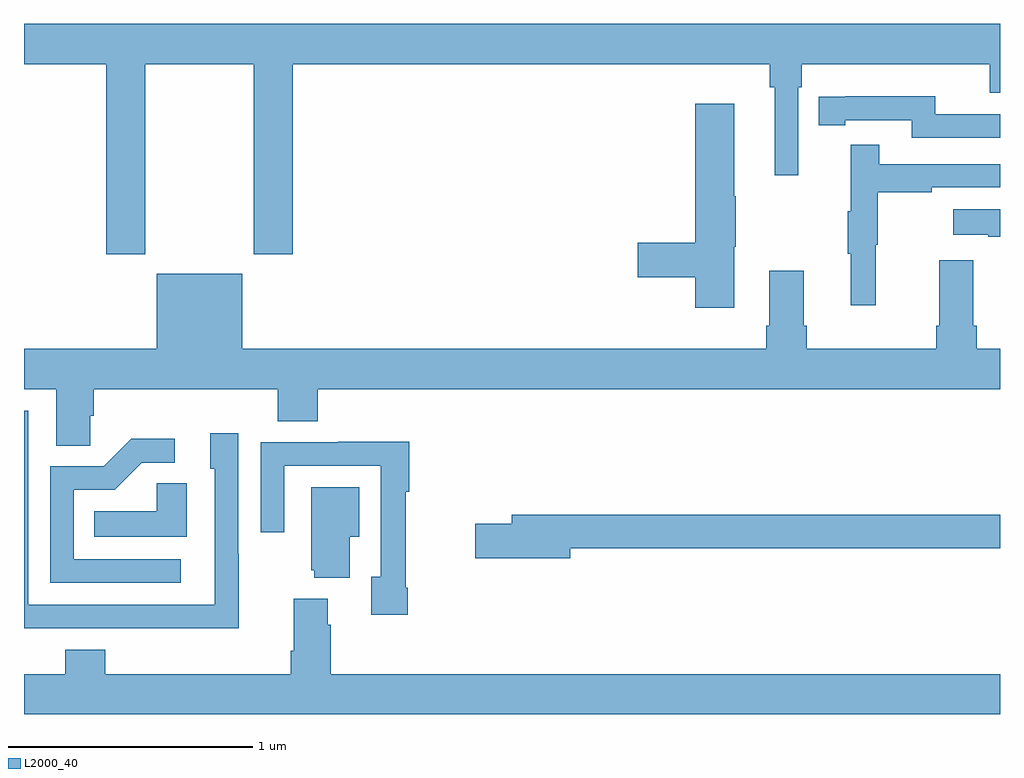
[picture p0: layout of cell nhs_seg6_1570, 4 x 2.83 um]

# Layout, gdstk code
import gdstk
lib = gdstk.Library(unit=1e-6, precision=1e-09)
def P(c, l, *ps):  # polygons
    for p in ps: c.add(gdstk.Polygon(p, *l))
L2000_40 = (2000, 40)

nhs_seg6_1570 = lib.new_cell('nhs_seg6_1570')
P(nhs_seg6_1570, L2000_40, [(205.497,991.292),(205.942,991.292),(205.942,990.513),(206.102,990.513),(206.102,991.292),(208.057,991.292),(208.057,991.196),(208.076,991.196),(208.076,990.837),(208.173,990.837),(208.173,991.196),(208.187,991.196),(208.187,991.292),(208.958,991.292),(208.958,991.175),(209,991.175),(209,991.456),(205,991.456),(205,991.292),(205.337,991.292),(205.337,990.513),(205.497,990.513)],
  [(209,991.086),(208.734,991.086),(208.734,991.159),(208.366,991.159),(208.366,991.158),(208.258,991.158),(208.258,991.042),(208.366,991.042),(208.366,991.062),(208.638,991.062),(208.638,990.99),(209,990.99)],
  [(207.91,990.543),(207.918,990.543),(207.918,990.749),(207.91,990.749),(207.91,991.129),(207.752,991.129),(207.752,990.56),(207.516,990.56),(207.516,990.418),(207.752,990.418),(207.752,990.294),(207.91,990.294)],
  [(208.49,990.552),(208.498,990.552),(208.498,990.766),(208.721,990.766),(208.721,990.786),(209,990.786),(209,990.882),(208.505,990.882),(208.505,990.961),(208.388,990.961),(208.388,990.689),(208.377,990.689),(208.377,990.515),(208.388,990.515),(208.388,990.303),(208.49,990.303)],
  [(209,990.697),(208.809,990.697),(208.809,990.593),(208.952,990.593),(208.952,990.583),(209,990.583)],
  [(209,990.124),(208.904,990.124),(208.904,990.22),(208.891,990.22),(208.891,990.487),(208.751,990.487),(208.751,990.22),(208.739,990.22),(208.739,990.124),(208.208,990.124),(208.208,990.22),(208.195,990.22),(208.195,990.445),(208.055,990.445),(208.055,990.22),(208.043,990.22),(208.043,990.124),(205.894,990.124),(205.894,990.433),(205.544,990.433),(205.544,990.124),(205,990.124),(205,989.96),(205.133,989.96),(205.133,989.728),(205.272,989.728),(205.272,989.851),(205.286,989.851),(205.286,989.96),(206.039,989.96),(206.039,989.827),(206.204,989.827),(206.204,989.96),(209,989.96)],
  [(205.881,989.285),(205.878,989.285),(205.878,989.779),(205.763,989.779),(205.763,989.634),(205.782,989.634),(205.782,989.076),(205.017,989.076),(205.017,989.871),(205,989.871),(205,988.98),(205.417,988.98),(205.417,988.979),(205.881,988.979)],
  [(205.642,989.262),(205.203,989.262),(205.203,989.547),(205.372,989.547),(205.483,989.658),(205.618,989.658),(205.618,989.756),(205.439,989.756),(205.326,989.643),(205.107,989.643),(205.107,989.166),(205.642,989.166)],
  [(206.572,989.146),(206.564,989.146),(206.564,989.539),(206.579,989.539),(206.579,989.744),(206.287,989.744),(206.287,989.742),(205.971,989.742),(205.971,989.373),(206.067,989.373),(206.067,989.646),(206.463,989.646),(206.463,989.19),(206.423,989.19),(206.423,989.034),(206.572,989.034)],
  [(205.666,989.573),(205.545,989.573),(205.545,989.458),(205.288,989.458),(205.288,989.354),(205.666,989.354)],
  [(206.335,989.354),(206.374,989.354),(206.374,989.557),(206.177,989.557),(206.177,989.217),(206.189,989.217),(206.189,989.186),(206.335,989.186)],
  [(207.238,989.308),(209,989.308),(209,989.444),(206.999,989.444),(206.999,989.408),(206.85,989.408),(206.85,989.266),(207.238,989.266)],
  [(209,988.792),(206.258,988.792),(206.258,988.994),(206.245,988.994),(206.245,989.101),(206.105,989.101),(206.105,988.888),(206.093,988.888),(206.093,988.792),(205.334,988.792),(205.334,988.891),(205.169,988.891),(205.169,988.792),(205,988.792),(205,988.628),(209,988.628)])

lib.write_gds('nhs_seg6_1570.gds')
